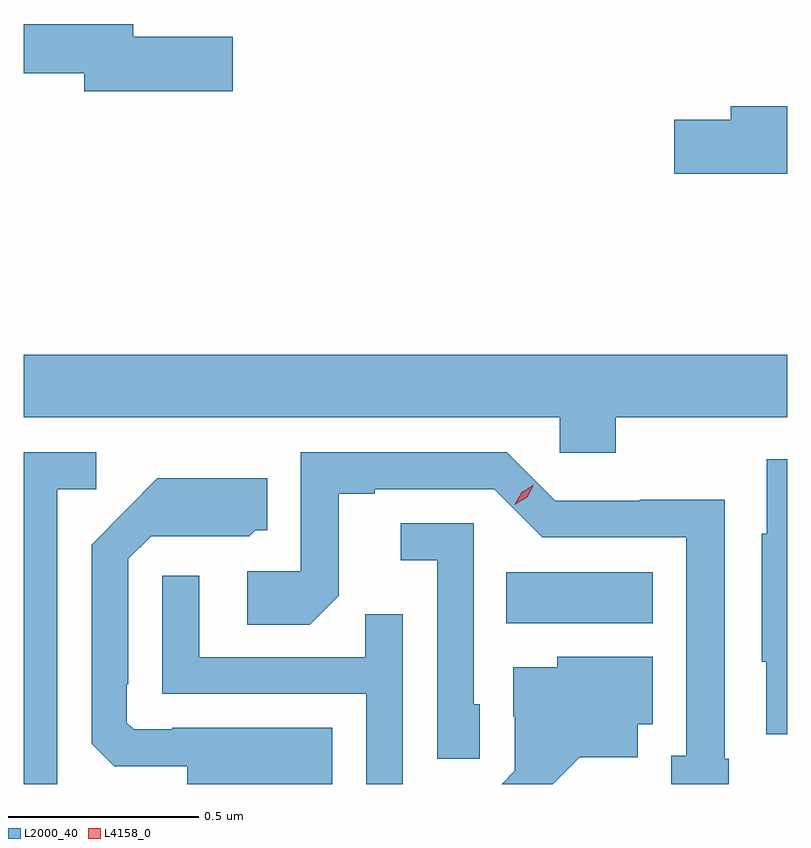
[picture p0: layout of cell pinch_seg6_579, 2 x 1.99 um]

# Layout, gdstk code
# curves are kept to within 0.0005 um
import gdstk
lib = gdstk.Library(unit=1e-6, precision=1e-09)
def R(c, l, rs):  # rectangles x0, y0, x1, y1
    for r in rs: c.add(gdstk.rectangle(r[:2], r[2:], *l))
def P(c, l, *ps):  # polygons
    for p in ps: c.add(gdstk.Polygon(p, *l))
L2000_40 = (2000, 40)
L4158_0 = (4158, 0)

pinch_seg6_579 = lib.new_cell('pinch_seg6_579')
R(pinch_seg6_579, L2000_40, [(626.434,973.436,626.818,973.57)])
P(pinch_seg6_579, L2000_40, [(625.717,974.973),(625.456,974.973),(625.456,975.007),(625.17,975.007),(625.17,974.878),(625.328,974.878),(625.328,974.831),(625.717,974.831)],
  [(627.17,974.792),(627.023,974.792),(627.023,974.756),(626.874,974.756),(626.874,974.614),(627.17,974.614)],
  [(626.721,973.976),(627.17,973.976),(627.17,974.14),(625.17,974.14),(625.17,973.976),(626.574,973.976),(626.574,973.883),(626.721,973.883)],
  [(627.017,973.081),(627.007,973.081),(627.007,973.76),(626.784,973.76),(626.784,973.758),(626.562,973.758),(626.436,973.884),(625.896,973.884),(625.896,973.572),(625.755,973.572),(625.755,973.432),(625.919,973.432),(625.995,973.508),(625.995,973.776),(626.089,973.776),(626.089,973.788),(626.403,973.788),(626.529,973.662),(626.906,973.662),(626.906,973.089),(626.867,973.089),(626.867,973.015),(627.017,973.015)],
  [(625.257,973.788),(625.36,973.788),(625.36,973.884),(625.17,973.884),(625.17,973.015),(625.257,973.015)],
  [(627.17,973.866),(627.117,973.866),(627.117,973.671),(627.104,973.671),(627.104,973.335),(627.116,973.335),(627.116,973.145),(627.17,973.145)],
  [(625.978,973.162),(625.558,973.162),(625.558,973.158),(625.458,973.158),(625.44,973.176),(625.44,973.276),(625.443,973.276),(625.443,973.605),(625.503,973.665),(625.626,973.665),(625.626,973.664),(625.76,973.664),(625.776,973.68),(625.807,973.68),(625.807,973.816),(625.519,973.816),(625.347,973.642),(625.347,973.12),(625.406,973.061),(625.598,973.061),(625.598,973.015),(625.978,973.015)],
  [(626.364,973.224),(626.349,973.224),(626.349,973.698),(626.157,973.698),(626.157,973.601),(626.253,973.601),(626.253,973.081),(626.364,973.081)],
  [(626.163,973.46),(626.065,973.46),(626.065,973.347),(625.629,973.347),(625.629,973.561),(625.533,973.561),(625.533,973.251),(626.067,973.251),(626.067,973.015),(626.163,973.015)],
  [(626.627,973.085),(626.779,973.085),(626.779,973.172),(626.818,973.172),(626.818,973.348),(626.568,973.348),(626.568,973.321),(626.453,973.321),(626.453,973.192),(626.457,973.192),(626.457,973.05),(626.422,973.015),(626.556,973.015)])
P(pinch_seg6_579, L4158_0, [(626.457,973.747),(626.457,973.748),(626.475,973.78),(626.506,973.799),(626.506,973.799),(626.506,973.799),(626.489,973.766),(626.457,973.747)])

lib.write_gds('pinch_seg6_579.gds')
